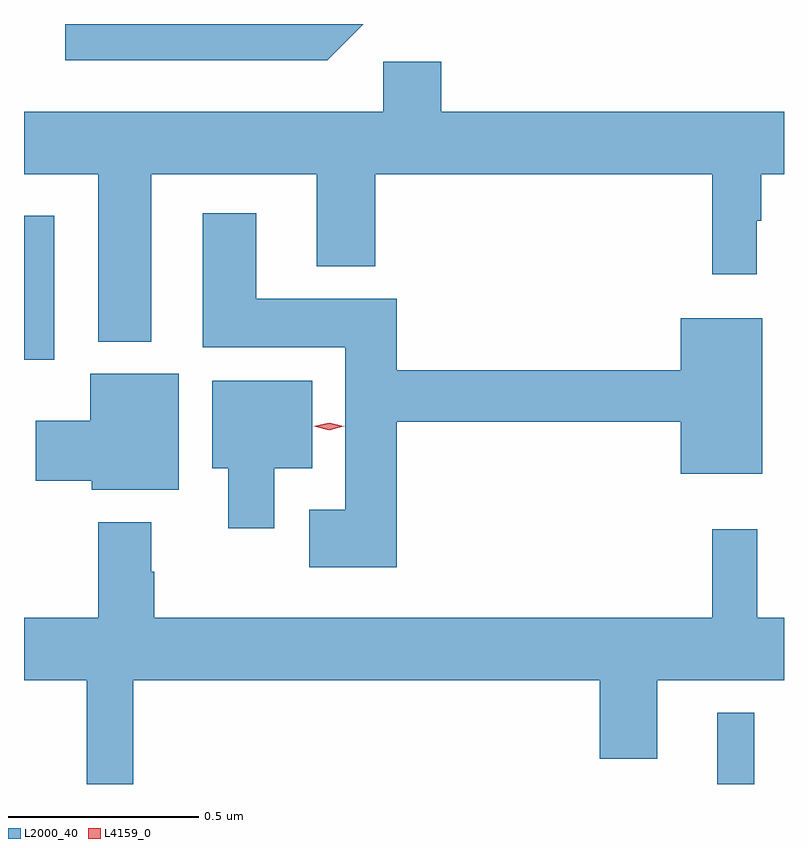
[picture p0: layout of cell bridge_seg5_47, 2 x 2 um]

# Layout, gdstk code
import gdstk
lib = gdstk.Library(unit=1e-6, precision=1e-09)
def R(c, l, rs):  # rectangles x0, y0, x1, y1
    for r in rs: c.add(gdstk.rectangle(r[:2], r[2:], *l))
def P(c, l, *ps):  # polygons
    for p in ps: c.add(gdstk.Polygon(p, *l))
L2000_40 = (2000, 40)
L4159_0 = (4159, 0)

bridge_seg5_47 = lib.new_cell('bridge_seg5_47')
R(bridge_seg5_47, L2000_40, [(774.842,837.839,774.94,838.027), (773.018,838.955,773.098,839.335)])
P(bridge_seg5_47, L2000_40, [(773.911,839.839),(773.127,839.839),(773.127,839.744),(773.816,839.744)],
  [(773.353,839.444),(773.789,839.444),(773.789,839.201),(773.942,839.201),(773.942,839.444),(774.829,839.444),(774.829,839.181),(774.946,839.181),(774.946,839.321),(774.958,839.321),(774.958,839.444),(775.018,839.444),(775.018,839.608),(774.116,839.608),(774.116,839.74),(773.964,839.74),(773.964,839.608),(773.018,839.608),(773.018,839.444),(773.213,839.444),(773.213,839.003),(773.353,839.003)],
  [(773.999,838.792),(774.746,838.792),(774.746,838.655),(774.961,838.655),(774.961,839.065),(774.746,839.065),(774.746,838.928),(773.999,838.928),(773.999,839.116),(773.629,839.116),(773.629,839.341),(773.489,839.341),(773.489,838.988),(773.864,838.988),(773.864,838.561),(773.769,838.561),(773.769,838.409),(773.999,838.409)],
  [(773.425,838.918),(773.192,838.918),(773.192,838.795),(773.049,838.795),(773.049,838.637),(773.196,838.637),(773.196,838.613),(773.425,838.613)],
  [(773.677,838.67),(773.776,838.67),(773.776,838.9),(773.513,838.9),(773.513,838.67),(773.555,838.67),(773.555,838.512),(773.677,838.512)],
  [(773.305,838.112),(774.533,838.112),(774.533,837.906),(774.685,837.906),(774.685,838.112),(775.018,838.112),(775.018,838.276),(774.947,838.276),(774.947,838.51),(774.829,838.51),(774.829,838.276),(773.361,838.276),(773.361,838.397),(773.353,838.397),(773.353,838.528),(773.213,838.528),(773.213,838.276),(773.018,838.276),(773.018,838.112),(773.183,838.112),(773.183,837.839),(773.305,837.839)])
P(bridge_seg5_47, L4159_0, [(773.821,838.77),(773.781,838.78),(773.781,838.78),(773.781,838.78),(773.821,838.79),(773.86,838.78),(773.861,838.78),(773.86,838.78)])

lib.write_gds('bridge_seg5_47.gds')
